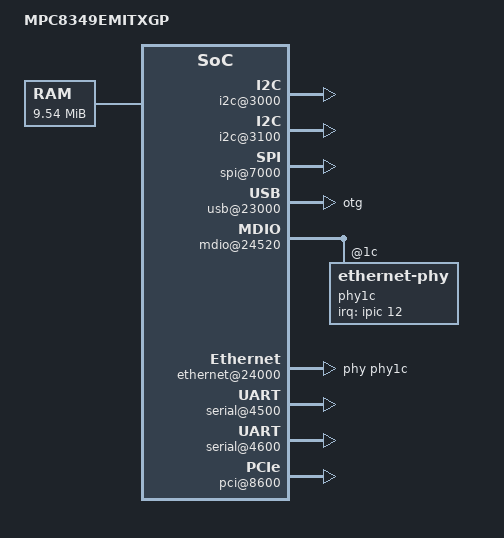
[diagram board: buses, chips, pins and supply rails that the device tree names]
/*
 * MPC8349E-mITX-GP Device Tree Source
 *
 * Copyright 2007 Freescale Semiconductor Inc.
 *
 * This program is free software; you can redistribute it and/or modify it
 * under the terms of the GNU General Public License as published by the
 * Free Software Foundation; either version 2 of the License, or (at your
 * option) any later version.
 */
/ {
	model = "MPC8349EMITXGP";
	compatible = "MPC8349EMITXGP", "MPC834xMITX", "MPC83xxMITX";
	#address-cells = <1>;
	#size-cells = <1>;

	cpus {
		#address-cells = <1>;
		#size-cells = <0>;

		PowerPC,8349@0 {
			device_type = "cpu";
			reg = <0>;
			d-cache-line-size = <20>;
			i-cache-line-size = <20>;
			d-cache-size = <8000>;
			i-cache-size = <8000>;
			timebase-frequency = <0>;	// from bootloader
			bus-frequency = <0>;		// from bootloader
			clock-frequency = <0>;		// from bootloader
			32-bit;
		};
	};

	memory {
		device_type = "memory";
		reg = <00000000 10000000>;
	};

	soc8349@e0000000 {
		#address-cells = <1>;
		#size-cells = <1>;
		#interrupt-cells = <2>;
		device_type = "soc";
		ranges = <0 e0000000 00100000>;
		reg = <e0000000 00000200>;
		bus-frequency = <0>;                    // from bootloader

		wdt@200 {
			device_type = "watchdog";
			compatible = "mpc83xx_wdt";
			reg = <200 100>;
		};

		i2c@3000 {
			device_type = "i2c";
			compatible = "fsl-i2c";
			reg = <3000 100>;
			interrupts = <e 8>;
			interrupt-parent = < &ipic >;
			dfsrr;
		};

		i2c@3100 {
			device_type = "i2c";
			compatible = "fsl-i2c";
			reg = <3100 100>;
			interrupts = <f 8>;
			interrupt-parent = < &ipic >;
			dfsrr;
		};

		spi@7000 {
			device_type = "spi";
			compatible = "mpc83xx_spi";
			reg = <7000 1000>;
			interrupts = <10 8>;
			interrupt-parent = < &ipic >;
			mode = <0>;
		};

		usb@23000 {
			device_type = "usb";
			compatible = "fsl-usb2-dr";
			reg = <23000 1000>;
			#address-cells = <1>;
			#size-cells = <0>;
			interrupt-parent = < &ipic >;
			interrupts = <26 8>;
			dr_mode = "otg";
			phy_type = "ulpi";
		};

		mdio@24520 {
			device_type = "mdio";
			compatible = "gianfar";
			reg = <24520 20>;
			#address-cells = <1>;
			#size-cells = <0>;

			/* Vitesse 8201 */
			phy1c: ethernet-phy@1c {
				interrupt-parent = < &ipic >;
				interrupts = <12 8>;
				reg = <1c>;
				device_type = "ethernet-phy";
			};
		};

		ethernet@24000 {
			device_type = "network";
			model = "TSEC";
			compatible = "gianfar";
			reg = <24000 1000>;
			local-mac-address = [ 00 00 00 00 00 00 ];
			interrupts = <20 8 21 8 22 8>;
			interrupt-parent = < &ipic >;
			phy-handle = < &phy1c >;
		};

		serial@4500 {
			device_type = "serial";
			compatible = "ns16550";
			reg = <4500 100>;
			clock-frequency = <0>;		// from bootloader
			interrupts = <9 8>;
			interrupt-parent = < &ipic >;
		};

		serial@4600 {
			device_type = "serial";
			compatible = "ns16550";
			reg = <4600 100>;
			clock-frequency = <0>;		// from bootloader
			interrupts = <a 8>;
			interrupt-parent = < &ipic >;
		};

		pci@8600 {
			interrupt-map-mask = <f800 0 0 7>;
			interrupt-map = <
					/* IDSEL 0x0F - PCI Slot */
					7800 0 0 1 &ipic 14 8 /* PCI_INTA */
					7800 0 0 2 &ipic 15 8 /* PCI_INTB */
					 >;
			interrupt-parent = < &ipic >;
			interrupts = <43 8>;
			bus-range = <1 1>;
			ranges = <42000000 0 a0000000 a0000000 0 10000000
				  02000000 0 b0000000 b0000000 0 10000000
				  01000000 0 00000000 e3000000 0 01000000>;
			clock-frequency = <3f940aa>;
			#interrupt-cells = <1>;
			#size-cells = <2>;
			#address-cells = <3>;
			reg = <8600 100>;
			compatible = "83xx";
			device_type = "pci";
		};

		crypto@30000 {
			device_type = "crypto";
			model = "SEC2";
			compatible = "talitos";
			reg = <30000 10000>;
			interrupts = <b 8>;
			interrupt-parent = < &ipic >;
			num-channels = <4>;
			channel-fifo-len = <18>;
			exec-units-mask = <0000007e>;
			descriptor-types-mask = <01010ebf>;
		};

		ipic: pic@700 {
			interrupt-controller;
			#address-cells = <0>;
			#interrupt-cells = <2>;
			reg = <700 100>;
			built-in;
			device_type = "ipic";
		};
	};
};
